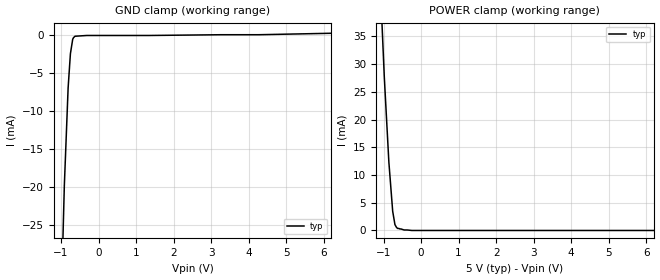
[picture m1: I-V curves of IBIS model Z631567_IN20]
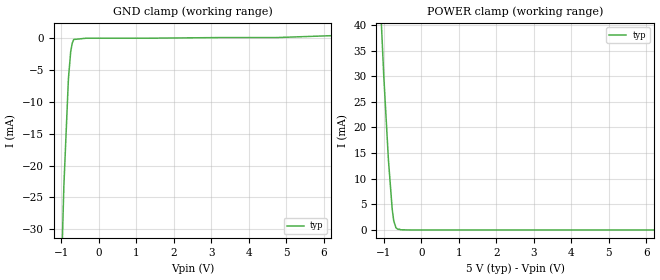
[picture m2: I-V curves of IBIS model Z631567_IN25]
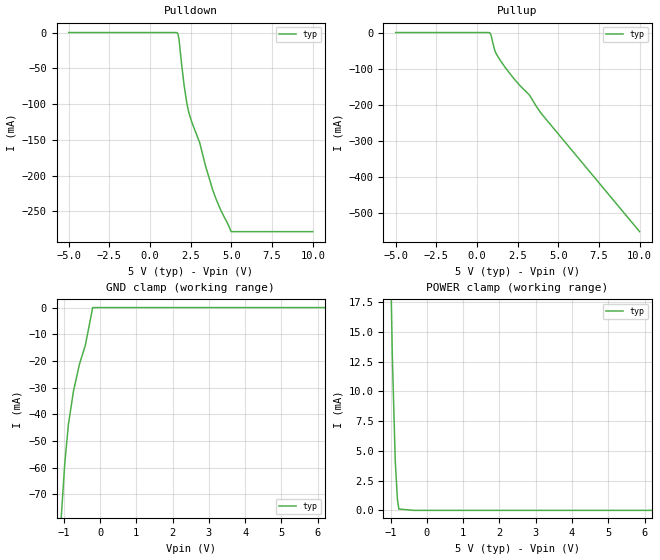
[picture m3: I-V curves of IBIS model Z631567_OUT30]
| YOU ARE ONLY AUTHORIZED TO USE THIS SOFTWARE
| ACCORDING TO LICENSOR'S LICENSE RESTRICTIONS.
[IBIS Ver] 3.1
[File Name] mc10ep016fa_50.ibs
[File Rev] 2.0
[Source] Measured and created by ICX Technology
[Date] Wednesday 11/22/00 2:13:50 PM
[Copyright]
| (C) COPYRIGHT 1993-2000
| MENTOR GRAPHICS CORPORATION
| ICX STANDARD LIBRARY, ICX PROJECT MODELING,
| ICX CUSTOM MODELING, ICX VENDOR MODEL
| ALL RIGHTS RESERVED.
| THE FOLLOWING ARE TRADEMARKS OR SERVICE MARKS OF
| MENTOR GRAPHICS CORPORATION:ICX (R), ICX STANDARD
| LIBRARY(R), ICX PROJECT MODELING(R), ICX CUSTOM
| MODELING(R), qualityIBIS(TM), MODELVIEWER(TM),
| AND MODELEDITOR(TM)
| ALL COPIES OF SOFTWARE, INCLUDING BUT NOT LIMITED TO
| ANY MODIFICATIONS, ENHANCEMENTS OR DERIVATIVE WORKS,
| MUST CONTAIN ALL MENTOR GRAPHICS CORPORATION'S
| NOTICES AND LEGENDS, INCLUDING THOSE EMBEDDED IN
| SOFTWARE AND THOSE AFFIXED TO SOFTWARE MEDIUM
| AND CONTAINER, AS RECEIVED FROM MENTOR GRAPHICS
| CORPORATION.
|  ZAP Model Builder 2.8
[Component] MC10EP016FA_50
[Manufacturer] OnSemiconductor
[Package]
| variable   typ   min   max
R_pkg  .067ohms NA NA
L_pkg  4.211nH NA NA
C_pkg  1.002pF NA NA
[Pin] signal_name  model_name  R_pin  L_pin C_pin
1 VCC POWER .065 3.973n .928p
2 Q3 Z631567_OUT30 .066 4.127n .978p
3 Q4 Z631567_OUT30 .068 4.288n 1.027p
4 Q5 Z631567_OUT30 .069 4.455n 1.077p
5 Q6 Z631567_OUT30 .069 4.455n 1.077p
6 Q7 Z631567_OUT30 .068 4.288n 1.027p
7 TCLD Z631567_IN25 .066 4.127n .978p
8 VCC POWER .065 3.973n .928p
9 VEE POWER .065 3.973n .928p
10 COUT Z631567_OUT30 .066 4.127n .978p
11 _COUT Z631567_OUT30 .068 4.288n 1.027p
12 _TC Z631567_OUT30 .069 4.455n 1.077p
13 VCC POWER .069 4.455n 1.077p
14 P7 Z631567_IN20 .068 4.288n 1.027p
15 P6 Z631567_IN20 .066 4.127n .978p
16 P5 Z631567_IN20 .065 3.973n .928p
17 P4 Z631567_IN20 .065 3.973n .928p
18 P3 Z631567_IN20 .066 4.127n .978p
19 P2 Z631567_IN20 .068 4.288n 1.027p
20 P1 Z631567_IN20 .069 4.455n 1.077p
21 P0 Z631567_IN20 .069 4.455n 1.077p
22 CLK Z631567_IN25 .068 4.288n 1.027p
23 _CLK Z631567_IN25 .066 4.127n .978p
24 VBB POWER .065 3.973n .928p
25 _PE Z631567_IN25 .065 3.973n .928p
26 _CE Z631567_IN25 .066 4.127n .978p
27 MR Z631567_IN25 .068 4.288n 1.027p
28 VEE POWER .069 4.455n 1.077p
29 Q0 Z631567_OUT30 .069 4.455n 1.077p
30 Q1 Z631567_OUT30 .068 4.288n 1.027p
31 Q2 Z631567_OUT30 .066 4.127n .978p
32 VCC POWER .065 3.973n .928p
[Diff Pin] inv_pin vdiff tdelay_typ tdelay_min tdelay_max
10 11 NA NA NA NA
22 23 NA NA NA NA
| Models and submodels in the file (3): Z631567_IN20 (Input_ECL), Z631567_IN25 (Input_ECL), Z631567_OUT30 (Output_ECL)
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| (C) COPYRIGHT 1993-2000
| MENTOR GRAPHICS CORPORATION
| ICX STANDARD LIBRARY, ICX PROJECT MODELING,
| ICX CUSTOM MODELING, ICX VENDOR MODEL
| ALL RIGHTS RESERVED.
| THE FOLLOWING ARE TRADEMARKS OR SERVICE MARKS OF
| MENTOR GRAPHICS CORPORATION:ICX (R), ICX STANDARD
| LIBRARY(R), ICX PROJECT MODELING(R), ICX CUSTOM
| MODELING(R), qualityIBIS(TM), MODELVIEWER(TM),
| AND MODELEDITOR(TM)
| ALL COPIES OF SOFTWARE, INCLUDING BUT NOT LIMITED TO
| ANY MODIFICATIONS, ENHANCEMENTS OR DERIVATIVE WORKS,
| MUST CONTAIN ALL MENTOR GRAPHICS CORPORATION'S
| NOTICES AND LEGENDS, INCLUDING THOSE EMBEDDED IN
| SOFTWARE AND THOSE AFFIXED TO SOFTWARE MEDIUM
| AND CONTAINER, AS RECEIVED FROM MENTOR GRAPHICS
| CORPORATION.
| Model Application Version 1.89 2/18/99.
[Model] Z631567_IN20
Model_type Input_ECL
Vinl = 3.455V
Vinh = 3.855V
C_comp 3.000pF NA NA
| variable typ   min   max
[Voltage Range] 5.000V NA NA
[GND Clamp Reference] 0.000V NA NA
[POWER Clamp Reference] 5.000V NA NA
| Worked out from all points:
|   GND clamp passes 1 mA (typ) near -0.71 V on its own axis
|   POWER clamp passes 1 mA (typ) near -0.69 V on its own axis
[GND Clamp]
-5V       -969.5mA   NA         NA
-1.054V   -46.3mA    NA         NA
-912mV    -19.8mA    NA         NA
-811mV    -6.9mA     NA         NA
-750mV    -2.4mA     NA         NA
-689mV    -500uA     NA         NA
-628mV    -100uA     NA         NA
-314mV    0A         NA         NA
4.266V    100uA      NA         NA
10V       671.4uA    NA         NA
[POWER Clamp]
-5V       656.5mA    NA         NA
-980mV    27.73mA    NA         NA
-858mV    12.34mA    NA         NA
-756mV    3.452mA    NA         NA
-696mV    1.058mA    NA         NA
-624.5mV  367.7uA    NA         NA
-452.5mV  89.94uA    NA         NA
-247.3mV  0A         NA         NA
10V       0A         NA         NA
| (C) COPYRIGHT 1993-2000
| MENTOR GRAPHICS CORPORATION
| ICX STANDARD LIBRARY, ICX PROJECT MODELING,
| ICX CUSTOM MODELING, ICX VENDOR MODEL
| ALL RIGHTS RESERVED.
| THE FOLLOWING ARE TRADEMARKS OR SERVICE MARKS OF
| MENTOR GRAPHICS CORPORATION:ICX (R), ICX STANDARD
| LIBRARY(R), ICX PROJECT MODELING(R), ICX CUSTOM
| MODELING(R), qualityIBIS(TM), MODELVIEWER(TM),
| AND MODELEDITOR(TM)
| ALL COPIES OF SOFTWARE, INCLUDING BUT NOT LIMITED TO
| ANY MODIFICATIONS, ENHANCEMENTS OR DERIVATIVE WORKS,
| MUST CONTAIN ALL MENTOR GRAPHICS CORPORATION'S
| NOTICES AND LEGENDS, INCLUDING THOSE EMBEDDED IN
| SOFTWARE AND THOSE AFFIXED TO SOFTWARE MEDIUM
| AND CONTAINER, AS RECEIVED FROM MENTOR GRAPHICS
| CORPORATION.
| Model Application Version 1.89 2/18/99.
[Model] Z631567_IN25
Model_type Input_ECL
Vinl = 3.455V
Vinh = 3.855V
C_comp 3.000pF NA NA
| variable typ   min   max
[Voltage Range] 5.000V NA NA
[GND Clamp Reference] 0.000V NA NA
[POWER Clamp Reference] 5.000V NA NA
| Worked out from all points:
|   GND clamp passes 1 mA (typ) near -0.72 V on its own axis
|   POWER clamp passes 1 mA (typ) near -0.70 V on its own axis
[GND Clamp]
-5V       -1.135A    NA         NA
-1.054V   -49.1mA    NA         NA
-932mV    -23.2mA    NA         NA
-811mV    -6.4mA     NA         NA
-750mV    -2.1mA     NA         NA
-709mV    -800uA     NA         NA
-669mV    -200uA     NA         NA
-334.5mV  0A         NA         NA
1.318V    0A         NA         NA
3.243V    100uA      NA         NA
4.733V    100uA      NA         NA
10V       1.161mA    NA         NA
[POWER Clamp]
-5V       667.5mA    NA         NA
-1V       29.84mA    NA         NA
-878mV    13.77mA    NA         NA
-777mV    4.09mA     NA         NA
-736mV    1.798mA    NA         NA
-675mV    410.2uA    NA         NA
-624.5mV  130.5uA    NA         NA
-574mV    130.5uA    NA         NA
-554mV    34.54uA    NA         NA
-277mV    0A         NA         NA
10V       0A         NA         NA
| (C) COPYRIGHT 1993-2000
| MENTOR GRAPHICS CORPORATION
| ICX STANDARD LIBRARY, ICX PROJECT MODELING,
| ICX CUSTOM MODELING, ICX VENDOR MODEL
| ALL RIGHTS RESERVED.
| THE FOLLOWING ARE TRADEMARKS OR SERVICE MARKS OF
| MENTOR GRAPHICS CORPORATION:ICX (R), ICX STANDARD
| LIBRARY(R), ICX PROJECT MODELING(R), ICX CUSTOM
| MODELING(R), qualityIBIS(TM), MODELVIEWER(TM),
| AND MODELEDITOR(TM)
| ALL COPIES OF SOFTWARE, INCLUDING BUT NOT LIMITED TO
| ANY MODIFICATIONS, ENHANCEMENTS OR DERIVATIVE WORKS,
| MUST CONTAIN ALL MENTOR GRAPHICS CORPORATION'S
| NOTICES AND LEGENDS, INCLUDING THOSE EMBEDDED IN
| SOFTWARE AND THOSE AFFIXED TO SOFTWARE MEDIUM
| AND CONTAINER, AS RECEIVED FROM MENTOR GRAPHICS
| CORPORATION.
| Model Application Version 1.89 2/18/99.
[Model] Z631567_OUT30
Model_type Output_ECL
Vref=3.000V
Rref=50.00ohms
Cref=0.000F
Vmeas=3.655V
C_comp 8.000pF NA NA
| variable typ   min   max
[Voltage Range] 5.000V NA NA
[POWER Clamp Reference] 5.000V NA NA
[Pullup Reference] 5.000V NA NA
[Pulldown Reference] 5.000V NA NA
[GND Clamp Reference] 0.000V NA NA
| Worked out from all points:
|   GND clamp passes 1 mA (typ) near -0.22 V on its own axis
|   POWER clamp passes 1 mA (typ) near -0.81 V on its own axis
[GND Clamp]
-5V       -1.12A     NA         NA
-1.095V   -83.9mA    NA         NA
-973mV    -58.5mA    NA         NA
-872mV    -43.8mA    NA         NA
-730mV    -31.1mA    NA         NA
-567mV    -21.2mA    NA         NA
-405mV    -14.1mA    NA         NA
-202.5mV  0A         NA         NA
10V       0A         NA         NA
[Pulldown]
-5V       0A         NA         NA
1.676V    -600uA     NA         NA
1.777V    -9.2mA     NA         NA
2.101V    -75mA      NA         NA
2.264V    -99.3mA    NA         NA
2.385V    -112.2mA   NA         NA
3.054V    -154.1mA   NA         NA
3.399V    -185.6mA   NA         NA
3.845V    -219.6mA   NA         NA
4.351V    -248.5mA   NA         NA
4.979V    -278.3mA   NA         NA
10V       -278.3mA   NA         NA
[Pullup]
-5V       0A         NA         NA
809mV     -1.7mA     NA         NA
870mV     -7.7mA     NA         NA
1.032V    -39.1mA    NA         NA
1.113V    -51.5mA    NA         NA
1.397V    -74.7mA    NA         NA
1.741V    -97.2mA    NA         NA
2.268V    -127.9mA   NA         NA
3.201V    -172.3mA   NA         NA
3.627V    -203.3mA   NA         NA
4.052V    -230.1mA   NA         NA
10V       -552.8mA   NA         NA
[POWER Clamp]
-5V       700.6mA    NA         NA
-955mV    13.1mA     NA         NA
-874mV    4.2mA      NA         NA
-813mV    900uA      NA         NA
-772mV    100uA      NA         NA
-731mV    100uA      NA         NA
-365.5mV  0A         NA         NA
10V       0A         NA         NA
[Ramp]
| variable typ min max
dV/dt_r 236.4m/152.0p NA NA
dV/dt_f 236.4m/203.3p NA NA
R_load = 50.00Ohms
